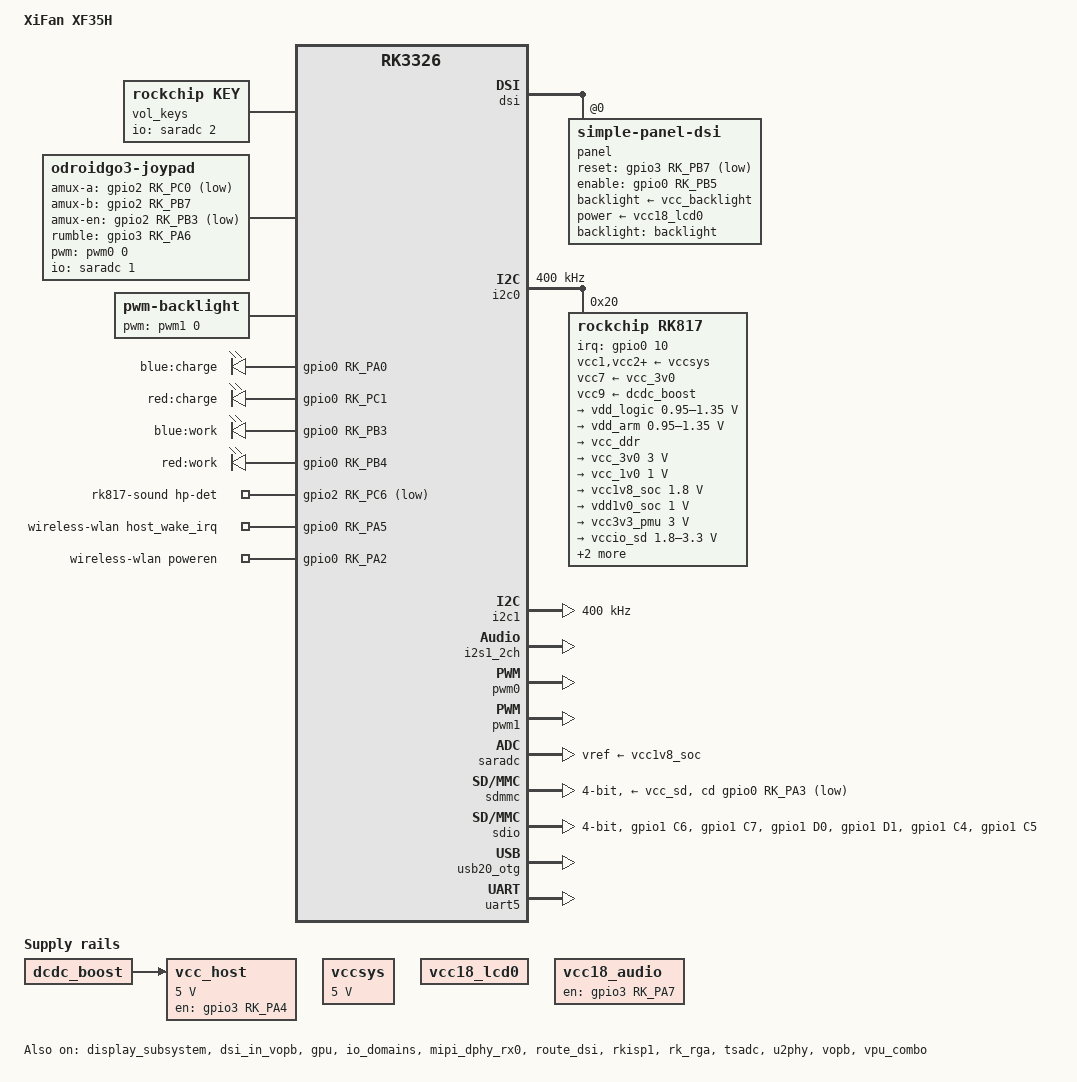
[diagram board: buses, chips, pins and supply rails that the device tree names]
// SPDX-License-Identifier: (GPL-2.0+ OR MIT)
/*
 * Copyright (c) 2021 Anbernic
 *
 * Anbernic RG351MP
 *
 */

/dts-v1/;
#include <dt-bindings/display/drm_mipi_dsi.h>
#include <dt-bindings/gpio/gpio.h>
#include <dt-bindings/input/input.h>
#include <dt-bindings/pinctrl/rockchip.h>
#include <dt-bindings/sensor-dev.h>
#include "rk3326.dtsi"
#include "rk3326-linux.dtsi"

/ {
	model = "XiFan XF35H";
	compatible = "rockchip,rk3326-xf35h-linux", "rockchip,rk3326";

	chosen {
                bootargs = "";
	};
	
	aliases {
		serial0 = "/serial@ff178000";
		serial5 = "/serial@ff030000";
	};

	vol_keys: rg351-keys {
		compatible = "rockchip,key";
		io-channels = <&saradc 2>;

		vol-down-key {
			linux,code = <KEY_VOLUMEDOWN>;
			label = "volume down";
			rockchip,adc_value = <166>;
		};

		vol-up-key {
			linux,code = <KEY_VOLUMEUP>;
			label = "volume up";
			rockchip,adc_value = <9>;
		};
	};

	joypad: odroidgo3-joypad {
                compatible = "odroidgo3-joypad";

                pwms = <&pwm0 0 200000000 0>;
                pwm-names = "enable";
                rumble-boost-weak = <0x0000>;
                rumble-boost-strong = <0x0000>;

                joypad-name = "GO-Super Gamepad";
                joypad-product = <0x1100>;
                joypad-revision = <0x0100>;

		status = "okay";
                /*
                  - odroidgo3-joypad sysfs list -
		   * for poll device interval(ms)
		   /sys/devices/platform/odroidgo3_joypad/poll_interval [rw]
		   ex) echo 20 > poll_interval
                   * for button-adc-fuzz
		   /sys/devices/platform/odroidgo3_joypad/adc_fuzz [r]
                   * for button-adc-flat
		   /sys/devices/platform/odroidgo3_joypad/adc_flat [r]

		   * for report control(1:enable, 0:disable)
		   /sys/devices/platform/odroidgo3_joypad/enable [rw]
		   * for adc calibration value setup(current adcs value -> cal value)
		   /sys/devices/platform/odroidgo3_joypad/adc_cal [rw]
		   ex) echo 0 > adc_cal

		   * for rumble period(ns)
		   /sys/devices/platform/odroidgo3_joypad/rumble_period
		   ex) echo 20000000 > rumble_duty_cycle
		   ex) cat rumble_duty_cycle -->get current duty cycle

		   * for rumble boost(0~65535)
		   /sys/devices/platform/odroidgo3_joypad/rumble_boost_weak
		   /sys/devices/platform/odroidgo3_joypad/rumble_boost_strong

		   * for amux data debug
		   * Joypad driver is disabled when using this sysfs.
		   /sys/devices/platform/odroidgo3_joypad/amux_debug [rw]
		   ex) echo 0 > amux_debug --> select amux channel
		   ex) cat amux_debug --> get adc data of seleted channel
                */

		/* gpio pincontrol setup */
                pinctrl-names = "default";
                pinctrl-0 = <&btn_pins>;
                pinctrl-1 = <&pwm0_pin>;

		/* Analog mux define */
		io-channel-names = "amux_adc";
		io-channels = <&saradc 1>;

		/* adc mux channel count */
		amux-count = <4>;
		amux-channel-mapping = <2 3 1 0>;
		/* adc mux select(a,b) gpio */
		amux-a-gpios = <&gpio2 RK_PC0 GPIO_ACTIVE_LOW>;
		amux-b-gpios = <&gpio2 RK_PB7 GPIO_ACTIVE_HIGH>;
		/* adc mux enable gpio */
		amux-en-gpios = <&gpio2 RK_PB3 GPIO_ACTIVE_LOW>;
		rumble-gpio = <&gpio3 RK_PA6 GPIO_ACTIVE_HIGH>;
		/* adc calculate scale */
		button-adc-scale = <2>;

		/* adc deadzone range  */
		button-adc-deadzone = <64>;

		/*
		  specifies fuzz value that is used to filter noise from
		  the event stream.
		*/
		button-adc-fuzz = <32>;
		button-adc-flat = <32>;

		/*
		  Analog Stick data tuning value(precent)
		  p = positive direction, n = negative direction
		  report value = (real_adc_data * tuning_value) / 100
		*/
		abs_x-p-tuning = <200>;
		abs_x-n-tuning = <200>;

		abs_y-p-tuning = <200>;
		abs_y-n-tuning = <200>;

		abs_rx-p-tuning = <200>;
		abs_rx-n-tuning = <200>;

		abs_ry-p-tuning = <200>;
		abs_ry-n-tuning = <200>;

		/* poll device interval (ms), adc read interval */
		poll-interval = <10>;

		/* required for RG351MP */
		invert-absx;
		invert-absy;
		sw1 {
			gpios = <&gpio3 RK_PC6 GPIO_ACTIVE_LOW>;
			label = "GPIO DPAD-UP";
			linux,code = <BTN_DPAD_UP>;
		};
		sw2 {
			gpios = <&gpio3 RK_PC7 GPIO_ACTIVE_LOW>;
			label = "GPIO DPAD-DOWN";
			linux,code = <BTN_DPAD_DOWN>;
		};
		sw3 {
			gpios = <&gpio3 RK_PC4 GPIO_ACTIVE_LOW>;
			label = "GPIO DPAD-LEFT";
			linux,code = <BTN_DPAD_LEFT>;
		};
		sw4 {
			gpios = <&gpio3 RK_PC5 GPIO_ACTIVE_LOW>;
			label = "GPIO DPAD-RIGHT";
			linux,code = <BTN_DPAD_RIGHT>;
		};
		sw5 {
			gpios = <&gpio3 RK_PC0 GPIO_ACTIVE_LOW>;
			label = "GPIO BTN-A";
			linux,code = <BTN_EAST>;
		};
		sw6 {
			gpios = <&gpio3 RK_PC1 GPIO_ACTIVE_LOW> ;
			label = "GPIO BTN-B";
			linux,code = <BTN_SOUTH>;
		};
		sw7 {
			gpios = <&gpio3 RK_PC3 GPIO_ACTIVE_LOW>;
			label = "GPIO BTN-Y";
			linux,code = <BTN_WEST>;
		};
		sw8 {
			gpios = <&gpio3 RK_PC2 GPIO_ACTIVE_LOW>;
			label = "GPIO BTN-X";
			linux,code = <BTN_NORTH>;
		};
		sw9 {
			gpios = <&gpio3 RK_PD0 GPIO_ACTIVE_LOW>;
			label = "BTN_SELECT";
			linux,code = <BTN_TRIGGER_HAPPY1>;
		};
		sw10 {
			gpios = <&gpio3 RK_PD1 GPIO_ACTIVE_LOW>;
			label = "BTN_START";
			linux,code = <BTN_TRIGGER_HAPPY2>;
		};
		/* this sw11 entry is SPECIAL, most RK3566 devices do not have
		   this physical button but for the sake of keeping compatibility
		   with ES and retroarch, this phantom button and offset will
		   allow existing userspace programs to work without doing any
		   new remapping thus saving lots of headaches and extra work */
		sw11 {
			gpios = <&gpio3 RK_PB2 GPIO_ACTIVE_LOW>;
			label = "GPIO BTN_F";
			linux,code = <BTN_MODE>;
		};
		sw12 {
			gpios = <&gpio2 RK_PB5 GPIO_ACTIVE_LOW>;
			label = "BTN_THUMBL";
			linux,code = <BTN_THUMBL>;
		};
		sw13 {
			gpios = <&gpio2 RK_PB6 GPIO_ACTIVE_LOW>;
			label = "BTN_THUMBR";
			linux,code = <BTN_THUMBR>;
		};
		sw14 {
			gpios = <&gpio3 RK_PB3 GPIO_ACTIVE_LOW>;
			label = "GPIO BTN_TR";
			linux,code = <BTN_TR>;
		};
		sw15 {
			gpios = <&gpio3 RK_PB4 GPIO_ACTIVE_LOW>;
			label = "GPIO BTN_TR2";
			linux,code = <BTN_TR2>;
		};
		sw16 {
			gpios = <&gpio3 RK_PB5 GPIO_ACTIVE_LOW>;
			label = "GPIO BTN_TL";
			linux,code = <BTN_TL>;
		};
		sw17 {
			gpios = <&gpio3 RK_PB6 GPIO_ACTIVE_LOW>;
			label = "GPIO BTN_TL2";
			linux,code = <BTN_TL2>;
		};

		/* gpio button auto repeat set value : default disable */
		/*
			autorepeat;
		*/

		/*
		      *** ODROIDGO3-Advance Switch layoout ***
		|------------------------------------------------|
		| sw15  sw21        sw10   sw9        sw20  sw16 |
		|------------------------------------------------|
		|      sw19                            sw22      |
		|              |-------------------|             |
		|     sw1      |                   |      sw8    |
		|  sw3   sw4   |                   |   sw7   sw5 |
		|     sw2      |    LCD Display    |      sw6    |
		|              |                   |             |
		|              |                   |             |
		|              |-------------------|             |
		|  sw11 sw12        | sd-slot |       sw13 sw14  |
		|-------------------|         |------------------|
		*/
                /*
                    joypad driver is poll-device driver.
                    poll-device is does not support wakeup-source.
		*/
        };

	fiq-debugger {
		compatible = "rockchip,fiq-debugger";
		rockchip,serial-id = <5>;
		rockchip,wake-irq = <0>;
		/* If enable uart uses irq instead of fiq */
		rockchip,irq-mode-enable = <0>;
		rockchip,baudrate = <1500000>;  /* Only 115200 and 1500000 */
		interrupts = <GIC_SPI 127 IRQ_TYPE_LEVEL_LOW>;
		pinctrl-names = "default";
		pinctrl-0 = <&uart5_xfer>;
		status = "disabled";
	};

	backlight: backlight {
		compatible = "pwm-backlight";
		pwms = <&pwm1 0 25000 0>;
		brightness-levels = <
			  0   1   2   3   4   5   6   7
			  8   9  10  11  12  13  14  15
			 16  17  18  19  20  21  22  23
			 24  25  26  27  28  29  30  31
			 32  33  34  35  36  37  38  39
			 40  41  42  43  44  45  46  47
			 48  49  50  51  52  53  54  55
			 56  57  58  59  60  61  62  63
			 64  65  66  67  68  69  70  71
			 72  73  74  75  76  77  78  79
			 80  81  82  83  84  85  86  87
			 88  89  90  91  92  93  94  95
			 96  97  98  99 100 101 102 103
			104 105 106 107 108 109 110 111
			112 113 114 115 116 117 118 119
			120 121 122 123 124 125 126 127
			128 129 130 131 132 133 134 135
			136 137 138 139 140 141 142 143
			144 145 146 147 148 149 150 151
			152 153 154 155 156 157 158 159
			160 161 162 163 164 165 166 167
			168 169 170 171 172 173 174 175
			176 177 178 179 180 181 182 183
			184 185 186 187 188 189 190 191
			192 193 194 195 196 197 198 199
			200 201 202 203 204 205 206 207
			208 209 210 211 212 213 214 215
			216 217 218 219 220 221 222 223
			224 225 226 227 228 229 230 231
			232 233 234 235 236 237 238 239
			240 241 242 243 244 245 246 247
			248 249 250 251 252 253 254 255>;
		default-brightness-level = <200>;
	};

	leds: gpio-leds {
		compatible = "gpio-leds";
		pinctrl-names = "default";
		pinctrl-0 = <&led_pins>;

		blue_charge: blue-charge {
			label = "blue:charge";
			gpios = <&gpio0 RK_PA0 GPIO_ACTIVE_HIGH>;
			default-state = "off";
		};

		red_charge: red-charge {
			label = "red:charge";
			gpios = <&gpio0 RK_PC1 GPIO_ACTIVE_HIGH>;
			default-state = "off";
		};

		blue_work: blue-work {
			label = "blue:work";
			gpios = <&gpio0 RK_PB3 GPIO_ACTIVE_HIGH>;
			default-state = "off";
		};

		red_work: red-work {
			label = "red:work";
			gpios = <&gpio0 RK_PB4 GPIO_ACTIVE_HIGH>;
			default-state = "off";
		};
	};

	rk817-sound {
		compatible = "simple-audio-card";
		simple-audio-card,format = "i2s";
	       simple-audio-card,name = "rk817_ext";
		simple-audio-card,mclk-fs = <256>;
		simple-audio-card,widgets =
			"Microphone", "Mic Jack",
			"Headphone", "Headphone Jack";
		simple-audio-card,routing =
			"MIC_IN", "Mic Jack",
			/*"IN1P", "Mic Jack",*/
			"Headphone Jack", "HPOL",
			"Headphone Jack", "HPOR";
		simple-audio-card,hp-det-gpio = <&gpio2 RK_PC6 GPIO_ACTIVE_LOW>;

		simple-audio-card,codec-hp-det = <1>;
		simple-audio-card,cpu {
			sound-dai = <&i2s1_2ch>;
		};
		simple-audio-card,codec {
			sound-dai = <&rk817_codec>;
		};
	};

	vccsys: vccsys {
		compatible = "regulator-fixed";
		regulator-name = "vcc5v0_sys";
		regulator-always-on;
		regulator-boot-on;
		regulator-min-microvolt = <5000000>;
		regulator-max-microvolt = <5000000>;
	};

	wireless-wlan {
		compatible = "wlan-platdata";
		wifi_chip_type = "rk915";
		WIFI,host_wake_irq = <&gpio0 RK_PA5 GPIO_ACTIVE_HIGH>;
		WIFI,poweren_gpio = <&gpio0 RK_PA2 GPIO_ACTIVE_HIGH>;
		status = "okay";
	};

	vcc18_lcd0: vcc18_lcd0 {
		compatible = "regulator-fixed";
		regulator-name = "vcc18_lcd0_n";
		enable-active-high;
		regulator-boot-on;
		regulator-state-mem {
			regulator-off-in-suspend;
		};
	};

	vcc18_audio: vcc_audio {
		compatible = "regulator-fixed";
		regulator-name = "vcc_audio";
		gpio = <&gpio3 RK_PA7 GPIO_ACTIVE_HIGH>;
		pinctrl-0 = <&led_pins>;
		pinctrl-names = "default";
	        enable-active-high;
	        regulator-always-on;
	        regulator-boot-on;
	};

    vcc_host: vcc_host {
        compatible = "regulator-fixed";
        regulator-name = "vcc_host";
        regulator-min-microvolt = <5000000>;
        regulator-max-microvolt = <5000000>;
        gpio = <&gpio3 RK_PA4 GPIO_ACTIVE_HIGH>;
	pinctrl-0 = <&vcc5_usb>;
	pinctrl-names = "default";
        enable-active-high;
        regulator-always-on;
        regulator-boot-on;
        vin-supply = <&dcdc_boost>;
    };

/*	vcc_host: vcc_host {
		compatible = "regulator-fixed";
		regulator-name = "vcc_host";
		regulator-min-microvolt = <5000000>;
		regulator-max-microvolt = <5000000>;

		gpio = <&gpio0 RK_PB7 GPIO_ACTIVE_HIGH>;
		enable-active-high;
		regulator-always-on;
		vin-supply = <&vccsys>;
	};*/
};

&bus_apll {
	bus-supply = <&vdd_logic>;
	status = "okay";
};

&cpu0 {
	cpu-supply = <&vdd_arm>;
};

&cpu0_opp_table {
	rockchip,avs = <1>;

	/* bin scaling clock 1.296MHz */
	rockchip,bin-scaling-sel = <
		0	10
		1	13
		2	16
		3	20
	>;

	/delete-node/ opp-408000000;
	/delete-node/ opp-600000000;
	/delete-node/ opp-696000000;
	/delete-node/ opp-1416000000;
	/delete-node/ opp-1512000000;

	opp-816000000 {
		opp-hz = /bits/ 64 <816000000>;
		opp-microvolt = <1050000 1050000 1350000>;
		opp-microvolt-L0 = <1050000 1050000 1350000>;
		opp-microvolt-L1 = <1000000 1000000 1350000>;
		opp-microvolt-L2 = <1000000 1000000 1350000>;
		opp-microvolt-L3 = <950000  950000  1350000>;
		clock-latency-ns = <40000>;
		opp-suspend;
	};

	opp-912000000 {
		opp-hz = /bits/ 64 <912000000>;
		opp-microvolt = <1125000 1125000 1350000>;
		opp-microvolt-L0 = <1125000 1125000 1350000>;
		opp-microvolt-L1 = <1075000 1075000 1350000>;
		opp-microvolt-L2 = <1075000 1075000 1350000>;
		opp-microvolt-L3 = <1000000 1000000 1350000>;
		clock-latency-ns = <40000>;
	};

	opp-1008000000 {
		opp-hz = /bits/ 64 <1008000000>;
		opp-microvolt = <1175000 1175000 1350000>;
		opp-microvolt-L0 = <1175000 1175000 1350000>;
		opp-microvolt-L1 = <1125000 1125000 1350000>;
		opp-microvolt-L2 = <1125000 1125000 1350000>;
		opp-microvolt-L3 = <1050000 1050000 1350000>;
		clock-latency-ns = <40000>;
	};

	opp-1200000000 {
		opp-hz = /bits/ 64 <1200000000>;
		opp-microvolt = <1300000 1300000 1350000>;
		opp-microvolt-L0 = <1300000 1300000 1350000>;
		opp-microvolt-L1 = <1275000 1275000 1350000>;
		opp-microvolt-L2 = <1250000 1250000 1350000>;
		opp-microvolt-L3 = <1200000 1200000 1350000>;
		clock-latency-ns = <40000>;
	};

	opp-1248000000 {
		opp-hz = /bits/ 64 <1248000000>;
		opp-microvolt = <1350000 1350000 1350000>;
		opp-microvolt-L0 = <1350000 1350000 1350000>;
		opp-microvolt-L1 = <1300000 1300000 1350000>;
		opp-microvolt-L2 = <1275000 1275000 1350000>;
		opp-microvolt-L3 = <1225000 1225000 1350000>;
		clock-latency-ns = <40000>;
	};

	opp-1296000000 {
		opp-hz = /bits/ 64 <1296000000>;
		opp-microvolt = <1350000 1350000 1350000>;
		opp-microvolt-L0 = <1350000 1350000 1350000>;
		opp-microvolt-L1 = <1350000 1350000 1350000>;
		opp-microvolt-L2 = <1300000 1300000 1350000>;
		opp-microvolt-L3 = <1250000 1250000 1350000>;
		clock-latency-ns = <40000>;
	};

	opp-1416000000 {
		opp-hz = /bits/ 64 <1416000000>;
		opp-microvolt     = <1350000 1350000 1350000>;
		opp-microvolt-L0  = <1350000 1350000 1350000>;
		opp-microvolt-L1  = <1350000 1350000 1350000>;
		opp-microvolt-L2  = <1325000 1325000 1350000>;
		opp-microvolt-L3  = <1300000 1300000 1350000>;
		opp-microvolt-L4  = <1250000 1250000 1350000>;
		clock-latency-ns = <40000>;
	};

	opp-1512000000 {
		opp-hz = /bits/ 64 <1512000000>;
		opp-microvolt     = <1350000 1350000 1350000>;
		opp-microvolt-L0  = <1350000 1350000 1350000>;
		opp-microvolt-L1  = <1350000 1350000 1350000>;
		opp-microvolt-L2  = <1350000 1350000 1350000>;
		opp-microvolt-L3  = <1325000 1325000 1350000>;
		opp-microvolt-L4  = <1300000 1300000 1350000>;
		clock-latency-ns = <40000>;
	};
};

&display_subsystem {
	status = "okay";
};

&dsi {
	status = "okay";

	panel@0 {
		compatible = "simple-panel-dsi";
		reg = <0>;
		/* pwm1 backlight */
		backlight = <&backlight>;
		/* RK817 LDO7 */
		backlight-supply = <&vcc_backlight>;
		/* RK817 LDO8 */

		power-supply = <&vcc18_lcd0>;
		/* LCD reset gpio GPIO3.C0 */
	        reset-gpios = <&gpio3 RK_PB7 GPIO_ACTIVE_LOW>;
			enable-gpios = <&gpio0 RK_PB5 GPIO_ACTIVE_HIGH>;
			prepare-delay-ms = <0x14>;
			reset-delay-ms = <0x14>;
			init-delay-ms = <0x14>;
			enable-delay-ms = <0x78>;
			disable-delay-ms = <0x14>;
			unprepare-delay-ms = <0x14>;
			width-mm = <0x99>;
			height-mm = <0x55>;
			dsi,flags = <0xa03>;
			dsi,format = <0x00>;
			dsi,lanes = <0x04>;
			panel-init-sequence = [39 00 04 b9 f1 12 83 39 00 06 b1 00 00 00 da 80 39 00 04 b2 00 13 70 39 00 0b b3 10 10 28 28 03 ff 00 00 00 00 15 00 02 b4 80 15 00 03 b5 0a 0a 15 00 03 b6 82 82 39 00 05 b8 26 62 f0 63 39 00 1c ba 33 81 05 f9 0e 0e 20 00 00 00 00 00 00 00 44 25 00 90 0a 00 00 01 4f 01 00 00 37 15 00 02 bc 47 39 00 04 bf 02 11 00 39 00 0a c0 73 73 50 50 00 00 12 50 00 39 00 0d c1 53 00 32 32 77 d1 cc cc 77 77 33 33 39 00 07 c6 82 00 bf ff 00 ff 39 00 07 c7 b8 00 0a 00 00 00 39 00 05 c8 10 40 1e 02 15 00 02 cc 0b 39 00 23 e0 00 07 0d 37 35 3f 41 44 06 0c 0d 0f 11 10 12 14 1a 00 07 0d 37 35 3f 41 44 06 0c 0d 0f 11 10 12 14 1a 39 00 0f e3 07 07 0b 0b 0b 0b 00 00 00 00 ff 00 c0 10 39 00 40 e9 c8 10 02 00 00 b0 b1 11 31 23 28 80 b0 b1 27 08 00 04 02 00 00 00 00 04 02 00 00 00 88 88 ba 60 24 08 88 88 88 88 88 88 88 ba 71 35 18 88 88 88 88 88 00 00 00 01 00 00 00 00 00 00 00 00 00 39 00 3e ea 97 0a 82 02 03 07 00 00 00 00 00 00 81 88 ba 17 53 88 88 88 88 88 88 80 88 ba 06 42 88 88 88 88 88 88 23 00 00 02 80 00 00 00 00 00 00 00 00 00 00 00 00 00 00 00 00 00 00 00 00 00 00 39 00 04 ef ff ff 01 05 c8 01 11 05 14 01 29];
			panel-exit-sequence = <0x5000128 0x5000110>;

		display-timings {
			native-mode = <&timing0>;

			timing0:timing0 {
				clock-frequency = <0x1c9c380>;
				hactive = <0x280>;
				vactive = <0x1e0>;
				hfront-porch = <0x96>;
				hsync-len = <0x32>;
				hback-porch = <0x96>;
				vfront-porch = <0x14>;
				vsync-len = <0x06>;
				vback-porch = <0x0c>;
				hsync-active = <0x00>;
				vsync-active = <0x00>;
				de-active = <0x00>;
				pixelclk-active = <0x00>;
			};
			
		};
	};
};

&dsi_in_vopb {
	status = "okay";
};

&dfi {
	status = "disabled";
};

&dmc {
	status = "disabled";
};


&dmc_opp_table {
	/delete-node/ opp-194000000;
	/delete-node/ opp-328000000;
	/delete-node/ opp-786000000;

	opp-450000000 {
		opp-hz = /bits/ 64 <450000000>;
		opp-microvolt = <950000>;
	};

	opp-528000000 {
		opp-hz = /bits/ 64 <528000000>;
		opp-microvolt = <975000>;
	};

	opp-666000000 {
		opp-hz = /bits/ 64 <666000000>;
		opp-microvolt = <1050000>;
	};

	opp-786000000 {
		opp-hz = /bits/ 64 <786000000>;
		opp-microvolt = <1150000>;
	};

	opp-840000000 {
		opp-hz = /bits/ 64 <840000000>;
		opp-microvolt = <1150000>;
	};
};

&emmc {
	status = "disabled";
};

&gpu {
	mali-supply = <&vdd_logic>;
	status = "okay";
};

&gpu_opp_table {
	/delete-node/ opp-200000000;
	/delete-node/ opp-300000000;
	/delete-node/ opp-520000000;

	opp-400000000 {
		opp-hz = /bits/ 64 <400000000>;
		opp-microvolt = <1050000>;
		opp-microvolt-L0 = <1050000>;
		opp-microvolt-L1 = <1025000>;
		opp-microvolt-L2 = <975000>;
		opp-microvolt-L3 = <950000>;
	};
	opp-480000000 {
		opp-hz = /bits/ 64 <480000000>;
		opp-microvolt = <1125000>;
		opp-microvolt-L0 = <1125000>;
		opp-microvolt-L1 = <1100000>;
		opp-microvolt-L2 = <1050000>;
		opp-microvolt-L3 = <1000000>;
	};

	opp-520000000 {
		opp-hz = /bits/ 64 <520000000>;
		opp-microvolt = <1150000>;
		opp-microvolt-L0 = <1150000>;
		opp-microvolt-L1 = <1150000>;
		opp-microvolt-L2 = <1100000>;
		opp-microvolt-L3 = <1050000>;
	};

	opp-540000000 {
		opp-hz = /bits/ 64 <540000000>;
		opp-microvolt = <1150000>;
		opp-microvolt-L0 = <1150000>;
		opp-microvolt-L1 = <1150000>;
		opp-microvolt-L2 = <1100000>;
		opp-microvolt-L3 = <1050000>;
	};

	opp-560000000 {
		opp-hz = /bits/ 64 <560000000>;
		opp-microvolt = <1150000>;
		opp-microvolt-L0 = <1150000>;
		opp-microvolt-L1 = <1150000>;
		opp-microvolt-L2 = <1100000>;
		opp-microvolt-L3 = <1050000>;
	};
};

&i2c0 {
	status = "okay";
	clock-frequency = <400000>;
	i2c-scl-rising-time-ns = <280>;
	i2c-scl-falling-time-ns = <16>;

	rk817: pmic@20 {
		compatible = "rockchip,rk817";
		reg = <0x20>;
		interrupt-parent = <&gpio0>;
		interrupts = <10 IRQ_TYPE_LEVEL_LOW>;
		pinctrl-names = "default", "pmic-sleep",
				"pmic-power-off", "pmic-reset";
		pinctrl-0 = <&pmic_int>;
		pinctrl-1 = <&soc_slppin_slp>, <&rk817_slppin_slp>;
		pinctrl-2 = <&soc_slppin_gpio>, <&rk817_slppin_pwrdn>;
		pinctrl-3 = <&soc_slppin_rst>, <&rk817_slppin_rst>;
		rockchip,system-power-controller;
		wakeup-source;
		#clock-cells = <1>;
		clock-output-names = "rk808-clkout1", "rk808-clkout2";
		//fb-inner-reg-idxs = <2>;

		/* 1: rst regs (default in codes), 0: rst the pmic */
		pmic-reset-func = <1>;

		vcc1-supply = <&vccsys>;
		vcc2-supply = <&vccsys>;
		vcc3-supply = <&vccsys>;
		vcc4-supply = <&vccsys>;
		vcc5-supply = <&vccsys>;
		vcc6-supply = <&vccsys>;
		vcc7-supply = <&vcc_3v0>;
		vcc8-supply = <&vccsys>;
		vcc9-supply = <&dcdc_boost>;

		pwrkey {
			status = "okay";
		};

		pinctrl_rk8xx: pinctrl_rk8xx {
			gpio-controller;
			#gpio-cells = <2>;

			rk817_ts_gpio1: rk817_ts_gpio1 {
				pins = "gpio_ts";
				function = "pin_fun1";
				/* output-low; */
				/* input-enable; */
			};

			rk817_gt_gpio2: rk817_gt_gpio2 {
				pins = "gpio_gt";
				function = "pin_fun1";
			};

			rk817_pin_ts: rk817_pin_ts {
				pins = "gpio_ts";
				function = "pin_fun0";
			};

			rk817_pin_gt: rk817_pin_gt {
				pins = "gpio_gt";
				function = "pin_fun0";
			};

			rk817_slppin_null: rk817_slppin_null {
				pins = "gpio_slp";
				function = "pin_fun0";
			};

			rk817_slppin_slp: rk817_slppin_slp {
				pins = "gpio_slp";
				function = "pin_fun1";
			};

			rk817_slppin_pwrdn: rk817_slppin_pwrdn {
				pins = "gpio_slp";
				function = "pin_fun2";
			};

			rk817_slppin_rst: rk817_slppin_rst {
				pins = "gpio_slp";
				function = "pin_fun3";
			};
		};

		regulators {
			vdd_logic: DCDC_REG1 {
				regulator-always-on;
				regulator-boot-on;
				regulator-min-microvolt = <950000>;
				regulator-max-microvolt = <1350000>;
				regulator-init-microvolt = <1150000>;
				regulator-ramp-delay = <6001>;
				regulator-initial-mode = <0x2>;
				regulator-name = "vdd_logic";
				regulator-state-mem {
					regulator-on-in-suspend;
					regulator-suspend-microvolt = <950000>;
				};
			};

			vdd_arm: DCDC_REG2 {
				regulator-always-on;
				regulator-boot-on;
				regulator-min-microvolt = <950000>;
				regulator-max-microvolt = <1350000>;
				regulator-init-microvolt = <1250000>;
				regulator-ramp-delay = <6001>;
				regulator-initial-mode = <0x2>;
				regulator-name = "vdd_arm";
				regulator-state-mem {
					regulator-off-in-suspend;
					regulator-suspend-microvolt = <950000>;
				};
			};

			vcc_ddr: DCDC_REG3 {
				regulator-always-on;
				regulator-boot-on;
				regulator-initial-mode = <0x2>;
				regulator-name = "vcc_ddr";
				regulator-state-mem {
					regulator-on-in-suspend;
				};
			};

			vcc_3v0: DCDC_REG4 {
				regulator-always-on;
				regulator-boot-on;
				regulator-min-microvolt = <3000000>;
				regulator-max-microvolt = <3000000>;
				regulator-initial-mode = <0x2>;
				regulator-name = "vcc_3v0";
				regulator-state-mem {
					regulator-off-in-suspend;
					regulator-suspend-microvolt = <3000000>;
				};
			};

			/* Not Used */
			vcc_1v0: LDO_REG1 {
				regulator-always-on;
				regulator-boot-on;
				regulator-min-microvolt = <1000000>;
				regulator-max-microvolt = <1000000>;
				regulator-name = "vcc_1v0";
				regulator-state-mem {
					regulator-on-in-suspend;
					regulator-suspend-microvolt = <1000000>;
				};
			};

			vcc1v8_soc: LDO_REG2 {
				regulator-always-on;
				regulator-boot-on;
				regulator-min-microvolt = <1800000>;
				regulator-max-microvolt = <1800000>;

				regulator-name = "vcc1v8_soc";
				regulator-state-mem {
					regulator-on-in-suspend;
					regulator-suspend-microvolt = <1800000>;
				};
			};

			vdd1v0_soc: LDO_REG3 {
				regulator-always-on;
				regulator-boot-on;
				regulator-min-microvolt = <1000000>;
				regulator-max-microvolt = <1000000>;

				regulator-name = "vcc1v0_soc";
				regulator-state-mem {
					regulator-on-in-suspend;
					regulator-suspend-microvolt = <1000000>;
				};
			};

			vcc3v3_pmu: LDO_REG4 {
				regulator-always-on;
				regulator-boot-on;
				regulator-min-microvolt = <3000000>;
				regulator-max-microvolt = <3000000>;

				regulator-name = "vcc3v0_pmu";
				regulator-state-mem {
					regulator-on-in-suspend;
					regulator-suspend-microvolt = <3000000>;

				};
			};

			vccio_sd: LDO_REG5 {
				regulator-always-on;
				regulator-boot-on;
				regulator-min-microvolt = <1800000>;
				regulator-max-microvolt = <3300000>;

				regulator-name = "vccio_sd";
				regulator-state-mem {
					regulator-on-in-suspend;
					regulator-suspend-microvolt = <3300000>;
				};
			};

			vcc_sd: LDO_REG6 {
				regulator-min-microvolt = <3300000>;
				regulator-max-microvolt = <3300000>;

				regulator-name = "vcc_sd";
				regulator-state-mem {
					regulator-on-in-suspend;
					regulator-suspend-microvolt = <3300000>;

				};
			};

			/* Rev 0.2 LCD Backlight Power */
			vcc_backlight: LDO_REG7 {
				regulator-always-on;
				regulator-boot-on;
				regulator-min-microvolt = <1800000>;
				regulator-max-microvolt = <3300000>;

				regulator-name = "vcc2v8_dvp";
				regulator-state-mem {
					regulator-on-in-suspend;
					regulator-suspend-microvolt = <3300000>;
				};
			};

			/* Rev 0.2 LCD IO Power */
			vcc_lcd: LDO_REG8 {
				regulator-always-on;
				regulator-boot-on;
				regulator-min-microvolt = <3300000>;
				regulator-max-microvolt = <3300000>;

				regulator-name = "vcc1v8_dvp";
				regulator-state-mem {
					regulator-on-in-suspend;
					regulator-suspend-microvolt = <3300000>;
				};
			};

			/* Rev 1.1 WIFI Power */
			vcc_wifi: LDO_REG9 {
				regulator-always-on;
				regulator-boot-on;
				regulator-min-microvolt = <3300000>;
				regulator-max-microvolt = <3300000>;

				regulator-name = "vcc_wifi";
				regulator-state-mem {
					regulator-off-in-suspend;
					regulator-suspend-microvolt = <3300000>;
				};
			};

			dcdc_boost: BOOST {
				regulator-always-on;
				regulator-boot-on;
				regulator-min-microvolt = <5000000>;
				regulator-max-microvolt = <5400000>;
				regulator-name = "boost";
			};

			otg_switch: OTG_SWITCH {
				regulator-boot-on;
				regulator-name = "otg_switch";
			};
		};

		battery {
			compatible = "rk817,battery";
			ocv_table = <3165 3220 3280 3330 3380 3430 3480
			3530 3580 3630 3670 3710 3750 3790
			3830 3870 3910 3950 3990 3995 4000>;


			/* KPL605475 Battery Spec */
			/*
				Capacity : 3.7V 3000mA
				Normal Voltage = 3.7V
				Cut-Off Voltage : 3.1V
				Internal Impedance : 180 mOhm
				Charging Voltage : 4.2V
				Charging Voltage Max : 4.25V
				Sample resister : 10 mohm
			*/
			design_capacity = <3380>;
			design_qmax = <3718>;
			bat_res = <100>;

			sleep_enter_current = <300>;
			sleep_exit_current = <300>;
			sleep_filter_current = <100>;
			power_off_thresd = <3000>;
			zero_algorithm_vol = <3850>;
			max_soc_offset = <60>;
			monitor_sec = <5>;
			virtual_power = <0>;
			sample_res = <10>;
			power_dc2otg = <0>;
		};

		charger {
			compatible = "rk817,charger";
			min_input_voltage = <4500>;
			max_input_current = <1500>;
			max_chrg_current = <2000>;
			max_chrg_voltage = <4200>;
			chrg_term_mode = <0>;
			chrg_finish_cur = <52>;
			virtual_power = <0>;
			sample_res = <10>;


			/* P.C.B rev0.2 DC Detect & Charger Status LED GPIO */
			dc_det_gpio  = <&gpio3 RK_PA5 GPIO_ACTIVE_HIGH>;
			bat_low_gpio = <&gpio0 RK_PC1 GPIO_ACTIVE_HIGH>;

			extcon = <&u2phy>;
		};

		rk817_codec: codec {
			#sound-dai-cells = <0>;
			compatible = "rockchip,rk817-codec";
			clocks = <&cru SCLK_I2S1_OUT>;
			clock-names = "mclk";
			pinctrl-names = "default";
			pinctrl-0 = <&i2s1_2ch_mclk>;
			hp-volume = <20>;
			spk-volume = <3>;
			status = "okay";
		};
	};
};

/* EXT Header(P2) : 7(SCL:GPIO0.C2), 8(SDA:GPIO0.C3) */
&i2c1 {
	status = "okay";
	clock-frequency = <400000>;
};

/* MIPI CSI I2C */
&i2c2 {
	status = "disabled";
};

/* I2S 1 Channel Used */
&i2s1_2ch {
	status = "okay";
	#sound-dai-cells = <0>;
};

&io_domains {
	/* GRF Register Voltage select control */
	status = "okay";

	/* SDIO I/O Voltage */
	vccio1-supply = <&vcc_backlight>;
	/* SDMMC I/O Voltage */
	vccio2-supply = <&vccio_sd>;
	/* CAM I/O Voltage */
	vccio3-supply = <&vcc1v8_soc>;
	/* LVDS/LCDC I/O Voltage */
	vccio4-supply = <&vcc_3v0>;
	/* I2S I/O Voltage */
	vccio5-supply = <&vcc_3v0>;
	/* eMMC I/O Voltage */
	vccio6-supply = <&vcc1v8_soc>;
};

&isp_mmu {
	status = "okay";
};

&mipi_dphy_rx0 {
	status = "okay";
};

&pmu_io_domains {
	/* PMU GRF Register Voltage select control */
	status = "okay";

	/* PMU I/O Voltage */
	pmuio1-supply = <&vcc3v3_pmu>;
	/* GPIO0_B/GPIO0_C, Flash */
	pmuio2-supply = <&vcc3v3_pmu>;
};

/* RG351MP Motor PWM */
&pwm0 {
	status = "okay";
};

/* LCD Backlight PWM */
&pwm1 {
	status = "okay";
};

&route_dsi {
	connect = <&vopb_out_dsi>;
	status = "okay";
};

&rkisp1 {
	status = "okay";
};

&rk_rga {
	status = "okay";
};

&rockchip_suspend {
	status = "okay";
	rockchip,sleep-debug-en = <1>;
};

&sfc {
	status = "disabled";
};

&spi0 {
	status = "disabled";
};

&saradc {
	status = "okay";
	vref-supply = <&vcc1v8_soc>;
};

&sdmmc {
	bus-width = <4>;
	cap-mmc-highspeed;
	cap-sd-highspeed;
	supports-sd;
	card-detect-delay = <800>;
	ignore-pm-notify;
	cd-gpios = <&gpio0 RK_PA3 GPIO_ACTIVE_LOW>; /*[> CD GPIO <]*/
	sd-uhs-sdr12;
	sd-uhs-sdr25;
	sd-uhs-sdr50;
	sd-uhs-sdr104;
	vqmmc-supply = <&vccio_sd>;
	vmmc-supply = <&vcc_sd>;
	status = "okay";
};

&sdio {
	bus-width = <4>;
	cap-sd-highspeed;
	supports-rk912;
	supports-sdio;
	pinctrl-0 = <&sdio_bus4 &sdio_cmd &sdio_clk>;
	no-sd;
	no-mmc;
	ignore-pm-notify;
	keep-power-in-suspend;
	status = "okay";
	pinctrl-names = "default";
};

&tsadc {
	pinctrl-names = "gpio", "otpout";
	pinctrl-0 = <&tsadc_otp_gpio>;
	pinctrl-1 = <&tsadc_otp_out>;
	status = "okay";
};

&u2phy {
	status = "okay";

	u2phy_host: host-port {
		status = "okay";
	};

	u2phy_otg: otg-port {
		status = "disabled";
	};
};

&usb20_otg {
	status = "okay";
};

/*
	EXT Header(P2) UART :
	2(RXD:GPIO1.C0),3(TXD:GPIO1.C1),4(CTS:GPIO1.C2),5(RTS:GPIO1.C3)
*/
&uart1 {
	pinctrl-names = "default";
	pinctrl-0 = <&uart1_xfer &uart1_cts>;
	status = "disabled";
};

&uart0 {
	status = "disabled";
};

&uart2 {
	status = "disabled";
};

&uart3 {
	status = "disabled";
};

&uart4 {
	status = "disabled";
};

&uart5 {
	clock-frequency = <115200>;
	status = "okay";
};

&vip_mmu {
	status = "okay";
};

&vopb {
	status = "okay";
};

&vopb_mmu {
	status = "okay";
};

&vpu_combo {
	status = "okay";
};

&pinctrl {

	pmic {
		/* ODROID-GO2 : PMIC_INT(GPIO0.PB2) */
		pmic_int: pmic_int {
			rockchip,pins =
				<0 RK_PB2 RK_FUNC_GPIO &pcfg_pull_up>;
		};

		/* ODROID-GO2 : PMIC_SLEEP(GPIO0.PA4) */
		soc_slppin_gpio: soc_slppin_gpio {
			rockchip,pins =
				<0 RK_PA4 RK_FUNC_GPIO &pcfg_output_low>;
		};

		soc_slppin_slp: soc_slppin_slp {
			rockchip,pins =
				<0 RK_PA4 RK_FUNC_1 &pcfg_pull_none>;
		};

		soc_slppin_rst: soc_slppin_rst {
			rockchip,pins =
				<0 RK_PA4 RK_FUNC_2 &pcfg_pull_none>;
		};
	};

	sdio {

		sdio_clk: sdio-clk {
			rockchip,pins = <1 RK_PC5 RK_FUNC_1 &pcfg_pull_none>;
		};

		sdio_cmd: sdio-cmd {
			rockchip,pins = <1 RK_PC4 RK_FUNC_1 &pcfg_pull_up>;
		};

		sdio_bus4: sdio-bus4 {
			rockchip,pins = 
				<1 RK_PC6 RK_FUNC_1 &pcfg_pull_up>,
				<1 RK_PC7 RK_FUNC_1 &pcfg_pull_up>,
				<1 RK_PD0 RK_FUNC_1 &pcfg_pull_up>,
				<1 RK_PD1 RK_FUNC_1 &pcfg_pull_up>;
		};
	};

    vcc18-lcd {
        vcc18_lcd_n: vcc18-lcd-n {
            rockchip,pins = <0 RK_PB5 RK_FUNC_GPIO &pcfg_pull_none>;
        };
    };

    vcc5-usb {
        vcc5_usb: vcc5-usb {
            rockchip,pins = <3 RK_PA4 RK_FUNC_GPIO &pcfg_pull_none>;
        };
    };

	sdio-pwrseq {

		wifi-enable-h {
			rockchip,pins = <0 RK_PA2 RK_FUNC_GPIO &pcfg_output_high>;
		};
	};

	leds {
		led_pins: led-pins {
			rockchip,pins =             
				<0 RK_PA0 RK_FUNC_GPIO &pcfg_pull_none>, /* charge blue  GPIO0_A0 */
				<0 RK_PC1 RK_FUNC_GPIO &pcfg_pull_none>, /* charge red   GPIO0_C1 */
				<0 RK_PB3 RK_FUNC_GPIO &pcfg_pull_none>, /* work blue   GPIO0_B3 */
				<0 RK_PB4 RK_FUNC_GPIO &pcfg_pull_none>; /* work red    GPIO0_B4 */
		};
	};
	btns {
		btn_pins: btn-pins {
		rockchip,pins =
			<3 RK_PB3 RK_FUNC_GPIO &pcfg_pull_up>,
			<3 RK_PB4 RK_FUNC_GPIO &pcfg_pull_up>,
			<3 RK_PB5 RK_FUNC_GPIO &pcfg_pull_up>,
			<3 RK_PB6 RK_FUNC_GPIO &pcfg_pull_up>,
			<3 RK_PC0 RK_FUNC_GPIO &pcfg_pull_up_12ma>,
			<3 RK_PC1 RK_FUNC_GPIO &pcfg_pull_up_12ma>,
			<3 RK_PC2 RK_FUNC_GPIO &pcfg_pull_up_12ma>,
			<3 RK_PC3 RK_FUNC_GPIO &pcfg_pull_up_12ma>,
			<3 RK_PC4 RK_FUNC_GPIO &pcfg_pull_up_12ma>,
			<3 RK_PC5 RK_FUNC_GPIO &pcfg_pull_up_12ma>,
			<3 RK_PC6 RK_FUNC_GPIO &pcfg_pull_up_12ma>,
			<3 RK_PC7 RK_FUNC_GPIO &pcfg_pull_up_12ma>,
			<3 RK_PD0 RK_FUNC_GPIO &pcfg_pull_up>,
			<3 RK_PD1 RK_FUNC_GPIO &pcfg_pull_up>,
			<3 RK_PD2 RK_FUNC_GPIO &pcfg_pull_up>,
			<3 RK_PD3 RK_FUNC_GPIO &pcfg_pull_up>,
			<2 RK_PB5 RK_FUNC_GPIO &pcfg_pull_up>,
			<2 RK_PB6 RK_FUNC_GPIO &pcfg_pull_up>,
			<3 RK_PB2 RK_FUNC_GPIO &pcfg_pull_up>;
		};
	};
};

/* DON'T PUT ANYTHING BELOW HERE.  PUT IT ABOVE PINCTRL */

